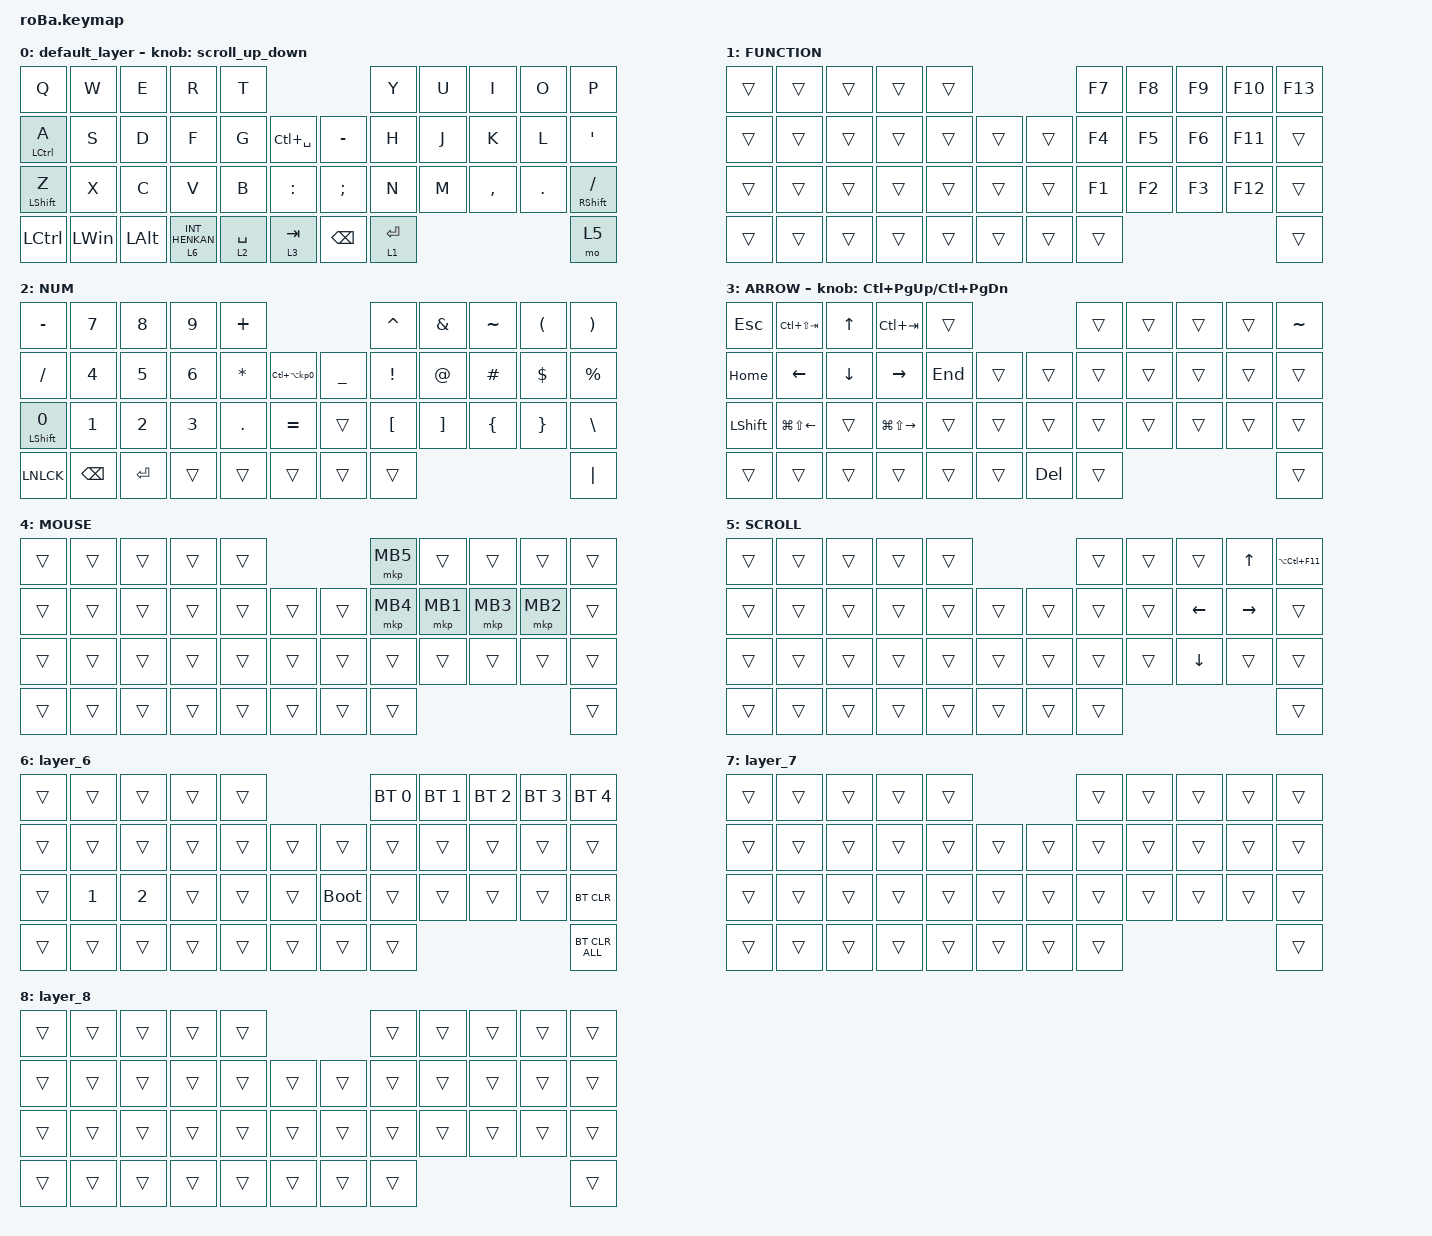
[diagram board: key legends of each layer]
#include <behaviors.dtsi>
#include <dt-bindings/zmk/bt.h>
#include <dt-bindings/zmk/keys.h>
#include <dt-bindings/zmk/pointing.h>

// #includeのあとのあたりにスクロール量を変更

#define ZMK_POINTING_DEFAULT_SCRL_VAL 100

&mt {
    flavor = "balanced";
    quick-tap-ms = <0>;
};

&trackball {
    automouse-layer = <4>;
    scroll-layers = <5>;

    // arrows {
    //     layers = <3>;
    //     bindings =
    //         <&kp RIGHT_ARROW>,
    //         <&kp LEFT_ARROW>,
    //         <&kp UP_ARROW>,
    //         <&kp DOWN_ARROW>;
    //     tick = <10>;
    //     wait-ms = <5>;
    //     tap-ms = <5>;
    // };
};

/ {
    combos {
        compatible = "zmk,combos";

        tab {
            bindings = <&kp TAB>;
            key-positions = <11 12>;
        };

        shift_tab {
            bindings = <&kp LS(TAB)>;
            key-positions = <12 13>;
        };

        muhennkann {
            bindings = <&to_layer_0 INT_MUHENKAN>;
            key-positions = <11 10>;
        };

        double_quotation {
            bindings = <&kp DOUBLE_QUOTES>;
            key-positions = <20 21>;
        };

        eq {
            bindings = <&kp EQUAL>;
            key-positions = <24 25>;
        };
    };

    macros {
        to_layer_0: to_layer_0 {
            compatible = "zmk,behavior-macro-one-param";
            #binding-cells = <1>;
            bindings = <&to 0 &macro_param_1to1 &kp MACRO_PLACEHOLDER>;
            label = "TO_LAYER_0";
        };
    };

    behaviors {
        lt_to_layer_0: lt_to_layer_0 {
            compatible = "zmk,behavior-hold-tap";
            label = "LAYER_TAP_TO_0";
            bindings = <&mo>, <&to_layer_0>;

            #binding-cells = <2>;
            tapping-term-ms = <200>;
        };

        //  behaviors に追加
        // 新しいスクロール動作の追加

        scroll_up_down: behavior_sensor_rotate_mouse_wheel_up_down {
            compatible = "zmk,behavior-sensor-rotate";
            #sensor-binding-cells = <0>;
            bindings = <&msc SCRL_DOWN>, <&msc SCRL_UP>;

            // 追加: スクロールのタップ時間を設定 (20ms)

            tap-ms = <20>;
        };
    };

    keymap {
        compatible = "zmk,keymap";

        default_layer {
            bindings = <
&kp Q             &kp W         &kp E         &kp R                        &kp T                                          &kp Y        &kp U  &kp I      &kp O    &kp P
&mt LCTRL A       &kp S         &kp D         &kp F                        &kp G        &kp LC(SPACE)      &kp MINUS      &kp H        &kp J  &kp K      &kp L    &kp SQT
&mt LEFT_SHIFT Z  &kp X         &kp C         &kp V                        &kp B        &kp COLON          &kp SEMICOLON  &kp N        &kp M  &kp COMMA  &kp DOT  &mt RSHFT SLASH
&kp LCTRL         &kp LEFT_WIN  &kp LEFT_ALT  &lt_to_layer_0 6 INT_HENKAN  &lt 2 SPACE  &lt 3 TAB          &kp BACKSPACE  &lt 1 ENTER                             &mo 5
            >;

            // sensor-bindings = <&inc_dec_kp PG_UP PAGE_DOWN>;

            sensor-bindings = <&scroll_up_down>;
        };

        FUNCTION {
            bindings = <
&trans  &trans  &trans  &trans  &trans                      &kp F7  &kp F8  &kp F9  &kp F10  &kp F13
&trans  &trans  &trans  &trans  &trans  &trans      &trans  &kp F4  &kp F5  &kp F6  &kp F11  &trans
&trans  &trans  &trans  &trans  &trans  &trans      &trans  &kp F1  &kp F2  &kp F3  &kp F12  &trans
&trans  &trans  &trans  &trans  &trans  &trans      &trans  &trans                           &trans
            >;
        };

        NUM {
            bindings = <
&kp MINUS                &kp NUMBER_7   &kp NUMBER_8  &kp NUMBER_9  &kp PLUS                                                   &kp CARET         &kp AMPERSAND      &kp TILDE       &kp LEFT_PARENTHESIS  &kp RIGHT_PARENTHESIS
&kp SLASH                &kp NUMBER_4   &kp NUMBER_5  &kp NUMBER_6  &kp ASTERISK  &kp LC(LA(KP_NUMBER_0))      &kp UNDERSCORE  &kp EXCLAMATION   &kp AT_SIGN        &kp HASH        &kp DOLLAR            &kp PERCENT
&mt LEFT_SHIFT NUMBER_0  &kp NUMBER_1   &kp NUMBER_2  &kp NUMBER_3  &kp PERIOD    &kp EQUAL                    &trans          &kp LEFT_BRACKET  &kp RIGHT_BRACKET  &kp LEFT_BRACE  &kp RIGHT_BRACE       &kp BACKSLASH
&kp LNLCK                &kp BACKSPACE  &kp ENTER     &trans        &trans        &trans                       &trans          &trans                                                                     &kp PIPE
            >;
        };

        ARROW {
            bindings = <
&kp ESCAPE      &kp LC(LS(TAB))         &kp UP_ARROW    &kp LC(TAB)              &trans                        &trans  &trans  &trans  &trans  &kp TILDE
&kp HOME        &kp LEFT_ARROW          &kp DOWN_ARROW  &kp RIGHT_ARROW          &kp END  &trans      &trans   &trans  &trans  &trans  &trans  &trans
&kp LEFT_SHIFT  &kp LG(LS(LEFT_ARROW))  &trans          &kp LG(LS(RIGHT_ARROW))  &trans   &trans      &trans   &trans  &trans  &trans  &trans  &trans
&trans          &trans                  &trans          &trans                   &trans   &trans      &kp DEL  &trans                          &trans
            >;

            sensor-bindings = <&inc_dec_kp LC(PAGE_UP) LC(PAGE_DOWN)>;
        };

        MOUSE {
            bindings = <
&trans  &trans  &trans  &trans  &trans                      &mkp MB5  &trans    &trans    &trans    &trans
&trans  &trans  &trans  &trans  &trans  &trans      &trans  &mkp MB4  &mkp MB1  &mkp MB3  &mkp MB2  &trans
&trans  &trans  &trans  &trans  &trans  &trans      &trans  &trans    &trans    &trans    &trans    &trans
&trans  &trans  &trans  &trans  &trans  &trans      &trans  &trans                                  &trans
            >;
        };

        SCROLL {
            bindings = <
&trans  &trans  &trans  &trans  &trans                      &trans  &trans  &trans    &kp UP     &kp LA(LC(F11))
&trans  &trans  &trans  &trans  &trans  &trans      &trans  &trans  &trans  &kp LEFT  &kp RIGHT  &trans
&trans  &trans  &trans  &trans  &trans  &trans      &trans  &trans  &trans  &kp DOWN  &trans     &trans
&trans  &trans  &trans  &trans  &trans  &trans      &trans  &trans                               &trans
            >;
        };

        layer_6 {
            bindings = <
&trans  &trans        &trans        &trans  &trans                           &bt BT_SEL 0  &bt BT_SEL 1  &bt BT_SEL 2  &bt BT_SEL 3  &bt BT_SEL 4
&trans  &trans        &trans        &trans  &trans  &trans      &trans       &trans        &trans        &trans        &trans        &trans
&trans  &kp NUMBER_1  &kp NUMBER_2  &trans  &trans  &trans      &bootloader  &trans        &trans        &trans        &trans        &bt BT_CLR
&trans  &trans        &trans        &trans  &trans  &trans      &trans       &trans                                                  &bt BT_CLR_ALL
            >;
        };

        layer_7 {
            bindings = <
&trans  &trans  &trans  &trans  &trans                      &trans  &trans  &trans  &trans  &trans
&trans  &trans  &trans  &trans  &trans  &trans      &trans  &trans  &trans  &trans  &trans  &trans
&trans  &trans  &trans  &trans  &trans  &trans      &trans  &trans  &trans  &trans  &trans  &trans
&trans  &trans  &trans  &trans  &trans  &trans      &trans  &trans                          &trans
            >;
        };

        layer_8 {
            bindings = <
&trans  &trans  &trans  &trans  &trans                      &trans  &trans  &trans  &trans  &trans
&trans  &trans  &trans  &trans  &trans  &trans      &trans  &trans  &trans  &trans  &trans  &trans
&trans  &trans  &trans  &trans  &trans  &trans      &trans  &trans  &trans  &trans  &trans  &trans
&trans  &trans  &trans  &trans  &trans  &trans      &trans  &trans                          &trans
            >;
        };
    };
};
